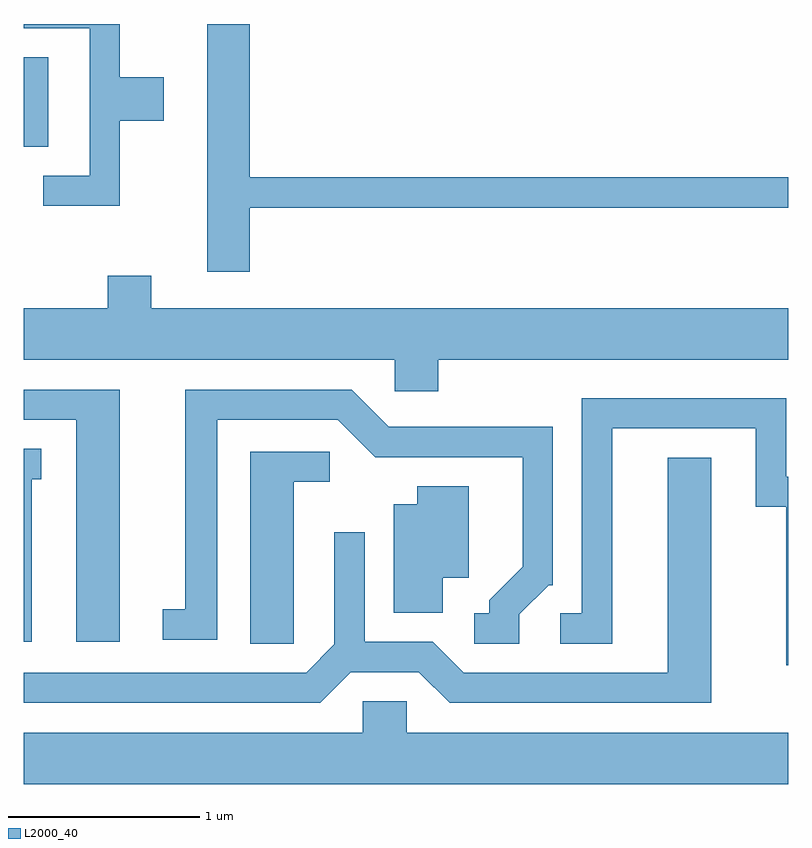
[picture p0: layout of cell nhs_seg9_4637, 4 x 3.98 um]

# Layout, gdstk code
import gdstk
lib = gdstk.Library(unit=1e-6, precision=1e-09)
def R(c, l, rs):  # rectangles x0, y0, x1, y1
    for r in rs: c.add(gdstk.rectangle(r[:2], r[2:], *l))
def P(c, l, *ps):  # polygons
    for p in ps: c.add(gdstk.Polygon(p, *l))
L2000_40 = (2000, 40)

nhs_seg9_4637 = lib.new_cell('nhs_seg9_4637')
R(nhs_seg9_4637, L2000_40, [(321.611,2021.791,321.739,2022.259)])
P(nhs_seg9_4637, L2000_40, [(322.114,2021.926),(322.344,2021.926),(322.344,2022.154),(322.114,2022.154),(322.114,2022.432),(321.611,2022.432),(321.611,2022.411),(321.956,2022.411),(321.956,2021.639),(321.713,2021.639),(321.713,2021.481),(322.114,2021.481)],
  [(322.794,2021.471),(325.611,2021.471),(325.611,2021.629),(322.794,2021.629),(322.794,2022.432),(322.571,2022.432),(322.571,2021.136),(322.794,2021.136)],
  [(323.779,2020.676),(325.611,2020.676),(325.611,2020.944),(322.279,2020.944),(322.279,2021.114),(322.051,2021.114),(322.051,2020.944),(321.611,2020.944),(321.611,2020.676),(323.551,2020.676),(323.551,2020.511),(323.779,2020.511)],
  [(322.114,2020.519),(321.611,2020.519),(321.611,2020.361),(321.886,2020.361),(321.886,2019.201),(322.114,2019.201)],
  [(324.204,2019.344),(324.357,2019.496),(324.379,2019.496),(324.379,2020.324),(323.522,2020.324),(323.327,2020.519),(322.456,2020.519),(322.456,2019.369),(322.338,2019.369),(322.338,2019.211),(322.624,2019.211),(322.624,2020.361),(323.254,2020.361),(323.449,2020.166),(324.221,2020.166),(324.221,2019.592),(324.046,2019.417),(324.046,2019.349),(323.968,2019.349),(323.968,2019.191),(324.204,2019.191)],
  [(325.611,2020.064),(325.599,2020.064),(325.599,2020.474),(324.531,2020.474),(324.531,2019.349),(324.418,2019.349),(324.418,2019.191),(324.689,2019.191),(324.689,2020.316),(325.441,2020.316),(325.441,2019.906),(325.601,2019.906),(325.601,2019.076),(325.611,2019.076)],
  [(321.654,2020.051),(321.703,2020.051),(321.703,2020.209),(321.611,2020.209),(321.611,2019.201),(321.654,2019.201)],
  [(323.024,2020.036),(323.213,2020.036),(323.213,2020.194),(322.796,2020.194),(322.796,2019.191),(323.024,2019.191)],
  [(323.322,2019.041),(323.679,2019.041),(323.839,2018.881),(325.209,2018.881),(325.209,2020.164),(324.981,2020.164),(324.981,2019.039),(323.912,2019.039),(323.752,2019.199),(323.394,2019.199),(323.394,2019.773),(323.236,2019.773),(323.236,2019.187),(323.089,2019.039),(321.611,2019.039),(321.611,2018.881),(323.162,2018.881)],
  [(323.804,2019.536),(323.939,2019.536),(323.939,2020.014),(323.671,2020.014),(323.671,2019.919),(323.546,2019.919),(323.546,2019.351),(323.804,2019.351)],
  [(325.611,2018.724),(323.614,2018.724),(323.614,2018.889),(323.386,2018.889),(323.386,2018.724),(321.611,2018.724),(321.611,2018.456),(325.611,2018.456)])

lib.write_gds('nhs_seg9_4637.gds')
